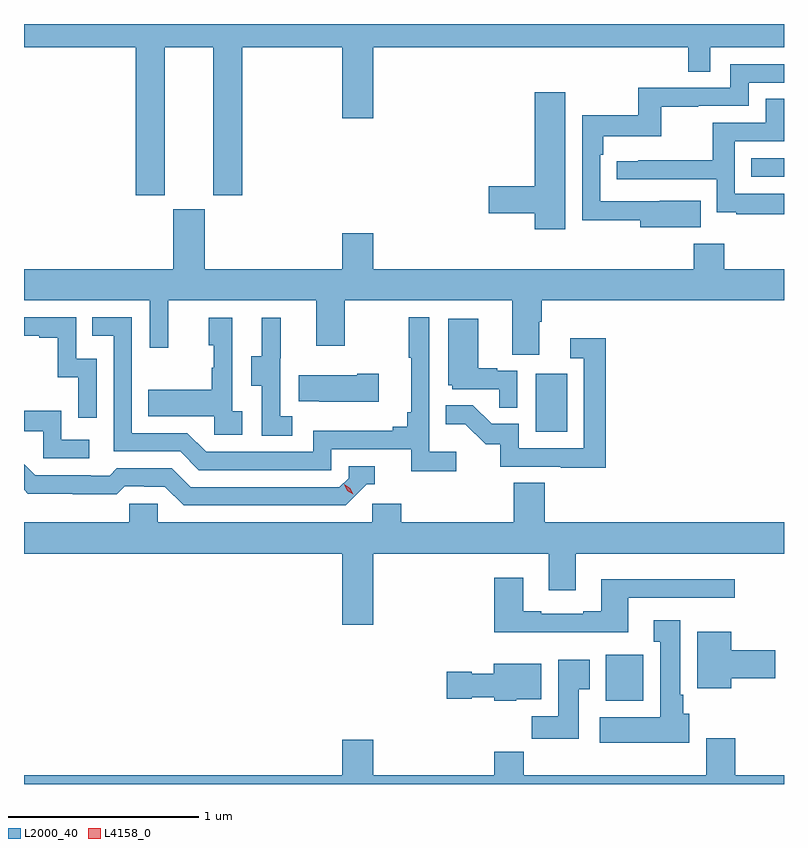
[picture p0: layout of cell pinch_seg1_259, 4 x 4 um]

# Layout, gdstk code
import gdstk
lib = gdstk.Library(unit=1e-6, precision=1e-09)
def R(c, l, rs):  # rectangles x0, y0, x1, y1
    for r in rs: c.add(gdstk.rectangle(r[:2], r[2:], *l))
def P(c, l, *ps):  # polygons
    for p in ps: c.add(gdstk.Polygon(p, *l))
L2000_40 = (2000, 40)
L4158_0 = (4158, 0)

pinch_seg1_259 = lib.new_cell('pinch_seg1_259')
R(pinch_seg1_259, L2000_40, [(945.617,572.27,945.814,572.512), (945.248,573.684,945.412,573.991), (946.381,575.028,946.554,575.124)])
P(pinch_seg1_259, L2000_40, [(943.294,575.708),(943.55,575.708),(943.55,574.929),(943.703,574.929),(943.703,575.708),(944.228,575.708),(944.228,575.334),(944.392,575.334),(944.392,575.708),(946.051,575.708),(946.051,575.581),(946.167,575.581),(946.167,575.708),(946.554,575.708),(946.554,575.831),(942.554,575.831),(942.554,575.708),(943.142,575.708),(943.142,574.929),(943.294,574.929)],
  [(946.115,574.9),(945.901,574.9),(945.901,574.899),(945.588,574.899),(945.588,575.144),(945.602,575.144),(945.602,575.24),(945.907,575.24),(945.907,575.395),(946.103,575.395),(946.103,575.4),(946.368,575.4),(946.368,575.523),(946.554,575.523),(946.554,575.619),(946.272,575.619),(946.272,575.496),(945.786,575.496),(945.786,575.35),(945.492,575.35),(945.492,574.798),(945.797,574.798),(945.797,574.76),(946.115,574.76)],
  [(945.403,575.473),(945.242,575.473),(945.242,574.976),(945,574.976),(945,574.834),(945.242,574.834),(945.242,574.752),(945.403,574.752)],
  [(946.554,574.938),(946.296,574.938),(946.296,575.214),(946.554,575.214),(946.554,575.438),(946.457,575.438),(946.457,575.31),(946.18,575.31),(946.18,575.114),(945.787,575.114),(945.787,575.109),(945.675,575.109),(945.675,575.013),(946.2,575.013),(946.2,574.841),(946.303,574.841),(946.303,574.83),(946.554,574.83)],
  [(945.265,574.264),(945.278,574.264),(945.278,574.376),(946.554,574.376),(946.554,574.54),(946.239,574.54),(946.239,574.675),(946.079,574.675),(946.079,574.54),(944.392,574.54),(944.392,574.729),(944.228,574.729),(944.228,574.54),(943.504,574.54),(943.504,574.857),(943.34,574.857),(943.34,574.54),(942.554,574.54),(942.554,574.376),(943.215,574.376),(943.215,574.128),(943.313,574.128),(943.313,574.376),(944.093,574.376),(944.093,574.137),(944.241,574.137),(944.241,574.376),(945.125,574.376),(945.125,574.09),(945.265,574.09)],
  [(944.83,573.58),(944.688,573.58),(944.688,574.288),(944.58,574.288),(944.58,574.075),(944.591,574.075),(944.591,573.787),(944.572,573.787),(944.572,573.71),(944.495,573.71),(944.495,573.691),(944.076,573.691),(944.076,573.579),(943.512,573.579),(943.413,573.678),(943.122,573.678),(943.122,574.287),(942.913,574.287),(942.913,574.191),(943.026,574.191),(943.026,573.582),(943.376,573.582),(943.475,573.483),(944.172,573.483),(944.172,573.594),(944.591,573.594),(944.591,573.478),(944.83,573.478)],
  [(942.936,574.068),(942.828,574.068),(942.828,574.287),(942.554,574.287),(942.554,574.191),(942.635,574.191),(942.635,574.179),(942.731,574.179),(942.731,573.971),(942.84,573.971),(942.84,573.759),(942.936,573.759)],
  [(943.702,573.794),(943.65,573.794),(943.65,574.285),(943.526,574.285),(943.526,574.14),(943.552,574.14),(943.552,574.022),(943.542,574.022),(943.542,573.907),(943.207,573.907),(943.207,573.767),(943.554,573.767),(943.554,573.669),(943.702,573.669)],
  [(943.966,573.767),(943.902,573.767),(943.902,574.071),(943.904,574.071),(943.904,574.285),(943.805,574.285),(943.805,574.083),(943.751,574.083),(943.751,573.928),(943.806,573.928),(943.806,573.664),(943.966,573.664)],
  [(945.15,574.005),(945.044,574.005),(945.044,574.018),(944.944,574.018),(944.944,574.279),(944.786,574.279),(944.786,573.93),(944.808,573.93),(944.808,573.909),(945.055,573.909),(945.055,573.811),(945.15,573.811)],
  [(945.617,574.177),(945.429,574.177),(945.429,574.071),(945.501,574.071),(945.501,573.597),(945.159,573.597),(945.159,573.726),(945.015,573.726),(944.917,573.824),(944.773,573.824),(944.773,573.725),(944.877,573.725),(944.984,573.618),(945.061,573.618),(945.061,573.501),(945.379,573.501),(945.379,573.496),(945.617,573.496)],
  [(944.422,573.99),(944.309,573.99),(944.309,573.982),(943.999,573.982),(943.999,573.845),(944.107,573.845),(944.107,573.842),(944.422,573.842)],
  [(942.898,573.642),(942.75,573.642),(942.75,573.796),(942.554,573.796),(942.554,573.687),(942.654,573.687),(942.654,573.546),(942.898,573.546)],
  [(944.358,573.408),(944.401,573.408),(944.401,573.504),(944.262,573.504),(944.262,573.441),(944.214,573.393),(943.431,573.393),(943.332,573.492),(943.043,573.492),(943.004,573.453),(942.905,573.453),(942.905,573.456),(942.612,573.456),(942.554,573.514),(942.554,573.379),(942.574,573.359),(942.81,573.359),(942.81,573.357),(943.043,573.357),(943.085,573.399),(943.188,573.399),(943.188,573.396),(943.295,573.396),(943.394,573.297),(944.247,573.297)],
  [(944.392,573.044),(945.317,573.044),(945.317,572.85),(945.457,572.85),(945.457,573.044),(946.554,573.044),(946.554,573.208),(945.296,573.208),(945.296,573.416),(945.131,573.416),(945.131,573.208),(944.54,573.208),(944.54,573.306),(944.388,573.306),(944.388,573.208),(943.257,573.208),(943.257,573.306),(943.107,573.306),(943.107,573.208),(942.554,573.208),(942.554,573.044),(944.228,573.044),(944.228,572.67),(944.392,572.67)],
  [(945.733,572.811),(946.294,572.811),(946.294,572.908),(945.593,572.908),(945.593,572.74),(945.497,572.74),(945.497,572.727),(945.277,572.727),(945.277,572.74),(945.181,572.74),(945.181,572.917),(945.029,572.917),(945.029,572.63),(945.733,572.63)],
  [(946.054,572.202),(946.024,572.202),(946.024,572.302),(946.009,572.302),(946.009,572.692),(945.869,572.692),(945.869,572.579),(945.902,572.579),(945.902,572.182),(945.585,572.182),(945.585,572.048),(946.054,572.048)],
  [(946.276,572.387),(946.507,572.387),(946.507,572.534),(946.276,572.534),(946.276,572.632),(946.097,572.632),(946.097,572.336),(946.276,572.336)],
  [(945.475,572.329),(945.532,572.329),(945.532,572.485),(945.365,572.485),(945.365,572.188),(945.226,572.188),(945.226,572.07),(945.475,572.07)],
  [(945.144,572.276),(945.277,572.276),(945.277,572.464),(945.026,572.464),(945.026,572.41),(944.91,572.41),(944.91,572.423),(944.778,572.423),(944.778,572.281),(944.91,572.281),(944.91,572.288),(945.03,572.288),(945.03,572.27),(945.144,572.27)],
  [(946.554,571.876),(946.298,571.876),(946.298,572.071),(946.145,572.071),(946.145,571.876),(945.185,571.876),(945.185,572),(945.029,572),(945.029,571.876),(944.392,571.876),(944.392,572.065),(944.228,572.065),(944.228,571.876),(942.554,571.876),(942.554,571.831),(946.554,571.831)])
P(pinch_seg1_259, L4158_0, [(944.286,573.356),(944.255,573.375),(944.239,573.407),(944.239,573.408),(944.239,573.408),(944.27,573.388),(944.286,573.356),(944.286,573.356)])

lib.write_gds('pinch_seg1_259.gds')
